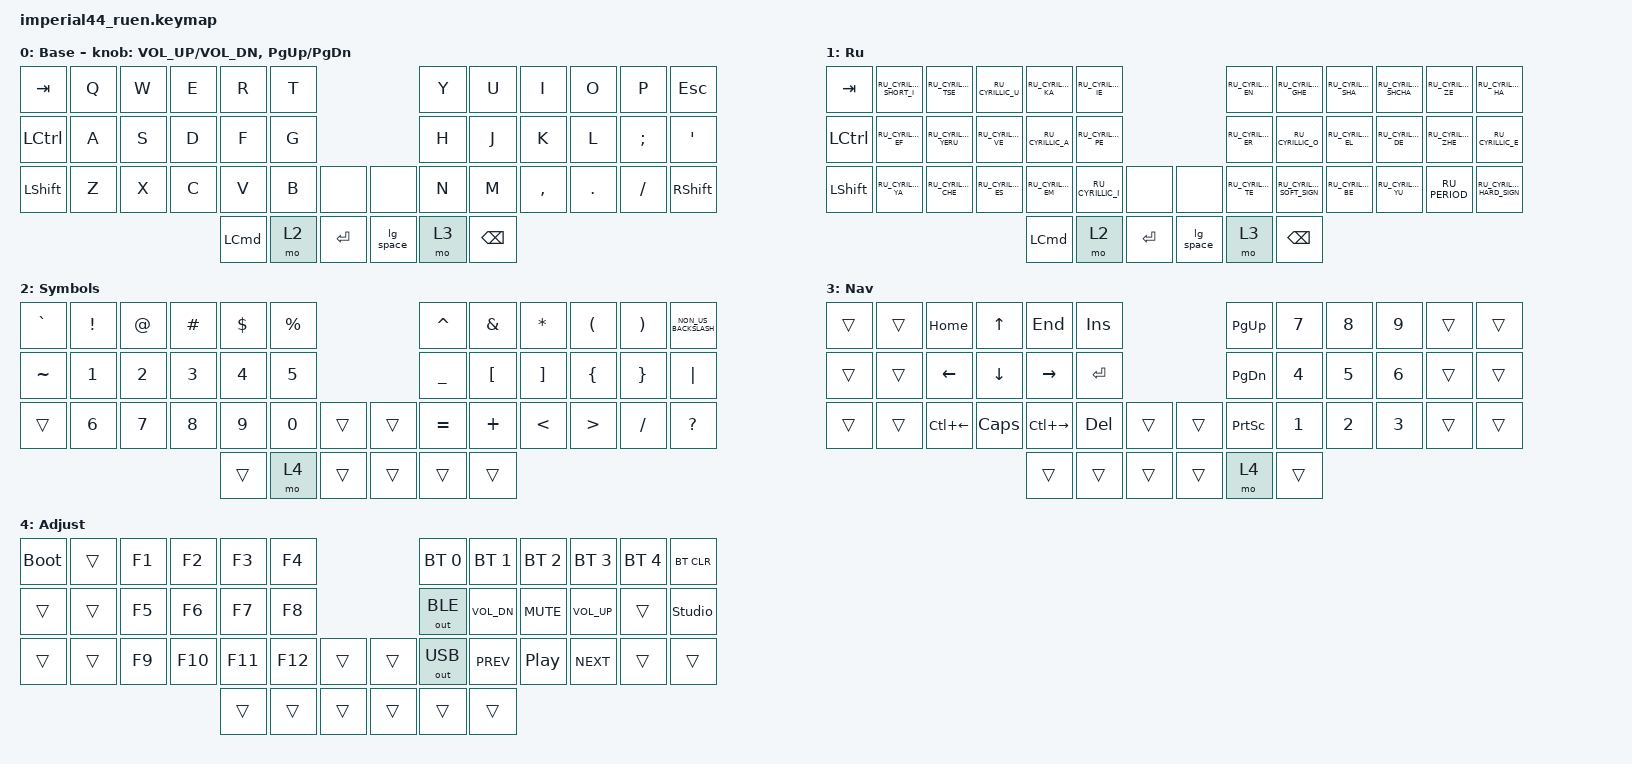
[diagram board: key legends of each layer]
#include "keys_ru.h"
#include <behaviors.dtsi>
#include <dt-bindings/zmk/bt.h>
#include <dt-bindings/zmk/keys.h>
#include <dt-bindings/zmk/outputs.h>

/ {
    combos {
        compatible = "zmk,combos";

        cmd_esc {
            bindings = <&kp ESCAPE>;
            key-positions = <13 14>;
        };

        semi {
            bindings = <&kp SEMI>;
            key-positions = <7 8>;
        };

        colon {
            bindings = <&kp COLON>;
            key-positions = <19 20>;
        };

        sqt {
            bindings = <&kp SQT>;
            key-positions = <8 9>;
        };

        dqt {
            bindings = <&kp DQT>;
            key-positions = <20 21>;
        };
    };

    macros {
        to_ru: to_ru {
            compatible = "zmk,behavior-macro";
            #binding-cells = <0>;
            bindings = <&kp LC(SPACE)>;
            label = "TO_RU";
            wait-ms = <0>;
            tap-ms = <30>;
        };

        to_en: to_en {
            compatible = "zmk,behavior-macro";
            #binding-cells = <0>;
            bindings = <&kp LC(SPACE)>;
            label = "TO_EN";
            wait-ms = <0>;
            tap-ms = <30>;
        };

        layer_en: layer_en {
            compatible = "zmk,behavior-macro";
            #binding-cells = <0>;
            bindings = <&to 0 &to_en>;
            label = "LAYER_EN";
            wait-ms = <0>;
            tap-ms = <30>;
        };

        layer_ru: layer_ru {
            compatible = "zmk,behavior-macro";
            #binding-cells = <0>;
            bindings = <&to 1 &to_ru>;
            label = "LAYER_RU";
            tap-ms = <30>;
            wait-ms = <0>;
        };

        en: en {
            compatible = "zmk,behavior-macro-one-param";
            #binding-cells = <1>;
            bindings =
                <&to_en>,
                <&macro_press>,
                <&macro_param_1to1 &kp MACRO_PLACEHOLDER>,
                <&macro_pause_for_release>,
                <&macro_release>,
                <&macro_param_1to1 &kp MACRO_PLACEHOLDER>,
                <&macro_tap>,
                <&to_ru>;

            label = "EN";
            wait-ms = <0>;
            tap-ms = <30>;
        };

        lg_tog: lg_tog {
            compatible = "zmk,behavior-macro";
            #binding-cells = <0>;
            bindings = <&kp LC(SPACE) &tog 1>;
            label = "LG_TOG";
        };
    };

    behaviors {
        lg_space: lg_space {
            compatible = "zmk,behavior-mod-morph";
            label = "LG_SPACE";
            bindings = <&kp SPACE>, <&lg_tog>;

            #binding-cells = <0>;
            mods = <(MOD_LCTL)>;
        };
    };

    keymap {
        compatible = "zmk,keymap";

        en {
            bindings = <
&kp TAB           &kp Q  &kp W  &kp E  &kp R             &kp T                          &kp Y  &kp U          &kp I      &kp O    &kp P     &kp ESCAPE
&kp LEFT_CONTROL  &kp A  &kp S  &kp D  &kp F             &kp G                          &kp H  &kp J          &kp K      &kp L    &kp SEMI  &kp SQT
&kp LEFT_SHIFT    &kp Z  &kp X  &kp C  &kp V             &kp B  &none        &none      &kp N  &kp M          &kp COMMA  &kp DOT  &kp FSLH  &kp RSHFT
                                       &kp LEFT_COMMAND  &mo 2  &kp ENTER    &lg_space  &mo 3  &kp BACKSPACE
            >;

            display-name = "Base";
            sensor-bindings =
                <&inc_dec_kp C_VOL_UP C_VOL_DN>,
                <&inc_dec_kp PG_UP PG_DN>;
        };

        ru {
            display-name = "Ru";
            bindings = <
&kp TAB           &kp RU_CYRILLIC_SHORT_I  &kp RU_CYRILLIC_TSE   &kp RU_CYRILLIC_U   &kp RU_CYRILLIC_KA  &kp RU_CYRILLIC_IE                          &kp RU_CYRILLIC_EN  &kp RU_CYRILLIC_GHE        &kp RU_CYRILLIC_SHA  &kp RU_CYRILLIC_SHCHA  &kp RU_CYRILLIC_ZE   &kp RU_CYRILLIC_HA
&kp LEFT_CONTROL  &kp RU_CYRILLIC_EF       &kp RU_CYRILLIC_YERU  &kp RU_CYRILLIC_VE  &kp RU_CYRILLIC_A   &kp RU_CYRILLIC_PE                          &kp RU_CYRILLIC_ER  &kp RU_CYRILLIC_O          &kp RU_CYRILLIC_EL   &kp RU_CYRILLIC_DE     &kp RU_CYRILLIC_ZHE  &kp RU_CYRILLIC_E
&kp LSHFT         &kp RU_CYRILLIC_YA       &kp RU_CYRILLIC_CHE   &kp RU_CYRILLIC_ES  &kp RU_CYRILLIC_EM  &kp RU_CYRILLIC_I   &none        &none      &kp RU_CYRILLIC_TE  &kp RU_CYRILLIC_SOFT_SIGN  &kp RU_CYRILLIC_BE   &kp RU_CYRILLIC_YU     &kp RU_PERIOD        &kp RU_CYRILLIC_HARD_SIGN
                                                                                     &kp LEFT_COMMAND    &mo 2               &kp ENTER    &lg_space  &mo 3               &kp BACKSPACE
            >;
        };

        sym_en {
            bindings = <
&kp GRAVE  &kp EXCL  &kp AT_SIGN   &kp POUND     &kp DOLLAR    &kp PRCNT                       &kp CARET  &kp AMPERSAND     &kp ASTRK          &kp LPAR          &kp RPAR         &kp NON_US_BACKSLASH
&kp TILDE  &kp N1    &kp NUMBER_2  &kp NUMBER_3  &kp NUMBER_4  &kp NUMBER_5                    &kp UNDER  &kp LEFT_BRACKET  &kp RIGHT_BRACKET  &kp LEFT_BRACE    &kp RIGHT_BRACE  &kp PIPE
&trans     &kp N6    &kp N7        &kp N8        &kp N9        &kp N0        &trans    &trans  &kp EQUAL  &kp PLUS          &kp LESS_THAN      &kp GREATER_THAN  &kp SLASH        &kp QMARK
                                                 &trans        &mo 4         &trans    &trans  &trans     &trans
            >;

            display-name = "Symbols";
        };

        nav {
            bindings = <
&trans  &trans  &kp HOME      &kp UP    &kp END        &kp INS                    &kp PG_UP        &kp N7  &kp N8  &kp N9  &trans  &trans
&trans  &trans  &kp LEFT      &kp DOWN  &kp RIGHT      &kp RET                    &kp PG_DN        &kp N4  &kp N5  &kp N6  &trans  &trans
&trans  &trans  &kp LC(LEFT)  &kp CAPS  &kp LC(RIGHT)  &kp DEL  &trans    &trans  &kp PRINTSCREEN  &kp N1  &kp N2  &kp N3  &trans  &trans
                                        &trans         &trans   &trans    &trans  &mo 4            &trans
            >;

            display-name = "Nav";
        };

        adj {
            bindings = <
&bootloader  &trans  &kp F1  &kp F2   &kp F3   &kp F4                     &bt BT_SEL 0  &bt BT_SEL 1  &bt BT_SEL 2      &bt BT_SEL 3  &bt BT_SEL 4  &bt BT_CLR
&trans       &trans  &kp F5  &kp F6   &kp F7   &kp F8                     &out OUT_BLE  &kp C_VOL_DN  &kp C_MUTE        &kp C_VOL_UP  &trans        &studio_unlock
&trans       &trans  &kp F9  &kp F10  &kp F11  &kp F12  &trans    &trans  &out OUT_USB  &kp C_PREV    &kp C_PLAY_PAUSE  &kp C_NEXT    &trans        &trans
                                      &trans   &trans   &trans    &trans  &trans        &trans
            >;

            display-name = "Adjust";
        };
    };
};
